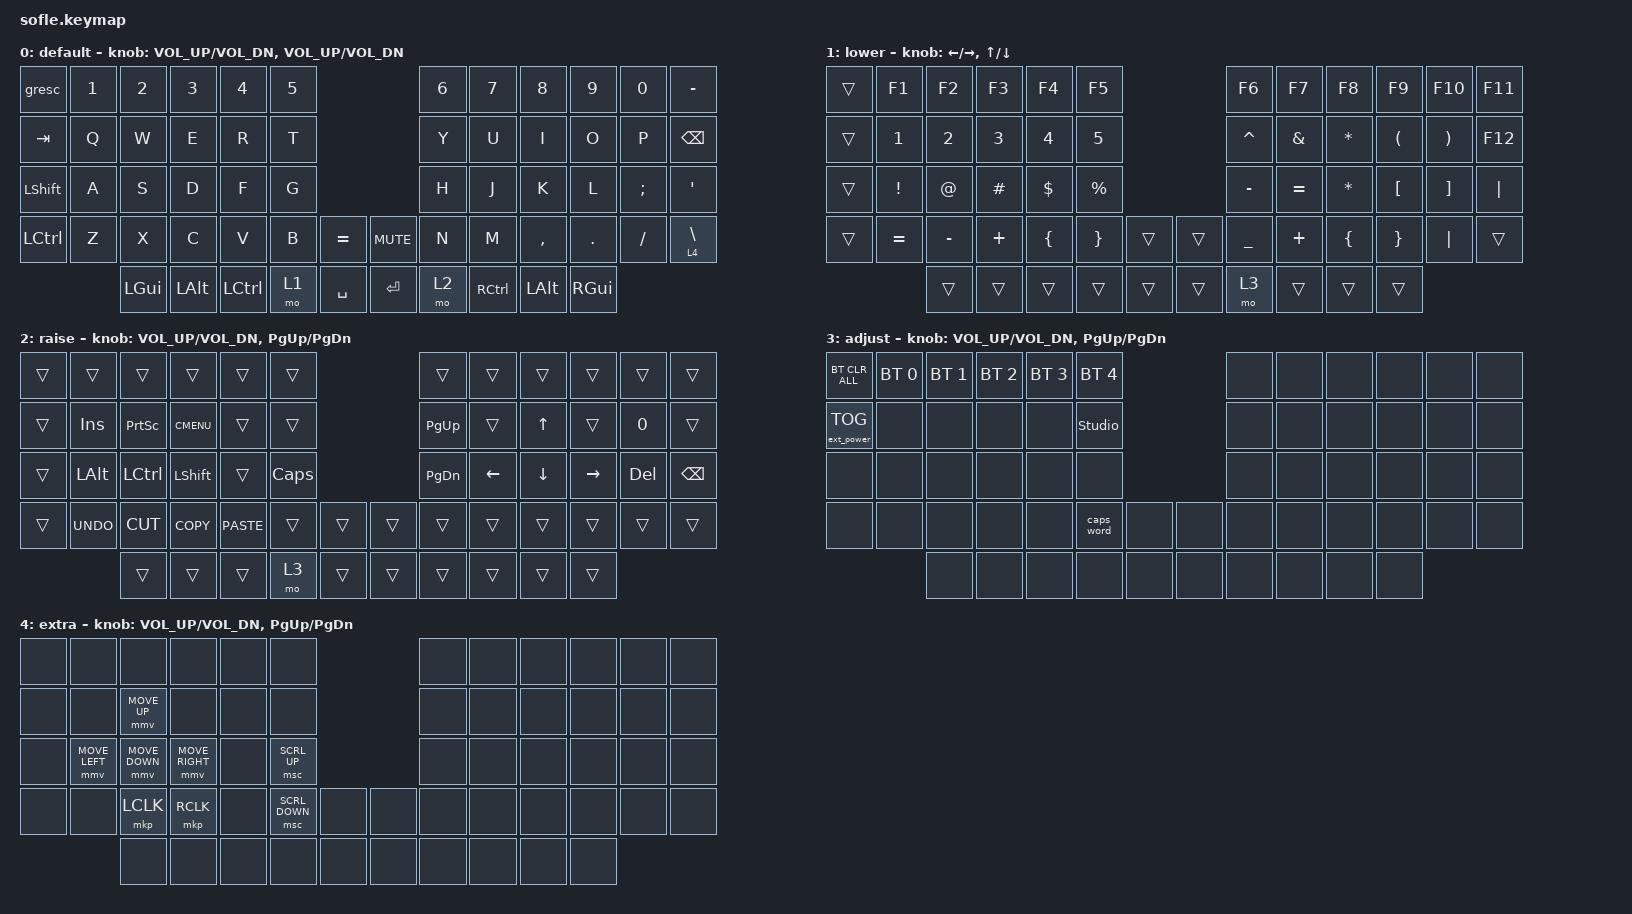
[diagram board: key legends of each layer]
/*
 * Copyright (c) 2020 The ZMK Contributors
 *
 * SPDX-License-Identifier: MIT
 */

#include <behaviors.dtsi>
#include <dt-bindings/zmk/bt.h>
#include <dt-bindings/zmk/ext_power.h>
#include <dt-bindings/zmk/keys.h>
#include <dt-bindings/zmk/pointing.h>


/*
// Encoders

&sensors { triggers-per-rotation = <30>; };

&left_encoder { steps = <60>; };

&right_encoder { steps = <60>; };
*/

#define BASE 0
#define LOWER 1
#define RAISE 2
#define ADJUST 3
#define EXTRA 4

/ {


    combos {
        compatible = "zmk,combos";

        backspace {
            bindings = <&kp BACKSPACE>;
            key-positions = <32 31>;
        };


        esc {
            bindings = <&kp ESCAPE>;
            key-positions = <25 41>;
        };
    };



    keymap {
        compatible = "zmk,keymap";

        // swap C_MUTE & EQUAL for encoder on the right

        default_layer {
            display-name = "default";

            // ------------------------------------------------------------------------------------------------------------
            // |   `   |  1  |  2  |  3   |  4   |  5   |                   |  6   |  7    |  8    |  9   |   0   |       |
            // |  ESC  |  Q  |  W  |  E   |  R   |  T   |                   |  Y   |  U    |  I    |  O   |   P   | BKSPC |
            // |  TAB  |  A  |  S  |  D   |  F   |  G   |                   |  H   |  J    |  K    |  L   |   ;   |   '   |
            // | SHIFT |  Z  |  X  |  C   |  V   |  B   |  MUTE  |  |       |  N   |  M    |  ,    |  .   |   /   | SHIFT |
            //               | GUI | ALT  | CTRL | LOWER|  ENTER |  | SPACE | RAISE| CTRL  | ALT   | GUI  |

            bindings = <
&gresc            &kp N1  &kp N2    &kp N3    &kp N4     &kp N5                              &kp N6     &kp N7     &kp N8     &kp N9    &kp N0    &kp MINUS
&kp TAB           &kp Q   &kp W     &kp E     &kp R      &kp T                               &kp Y      &kp U      &kp I      &kp O     &kp P     &kp BSPC
&kp LEFT_SHIFT    &kp A   &kp S     &kp D     &kp F      &kp G                               &kp H      &kp J      &kp K      &kp L     &kp SEMI  &kp SQT
&kp LEFT_CONTROL  &kp Z   &kp X     &kp C     &kp V      &kp B      &kp EQUAL    &kp C_MUTE  &kp N      &kp M      &kp COMMA  &kp DOT   &kp FSLH  &lt 4 BSLH
                          &kp LGUI  &kp LALT  &kp LCTRL  &mo 1  &kp SPACE     &kp ENTER  &mo 2  &kp RCTRL  &kp LALT   &kp RGUI
            >;

            sensor-bindings = <&inc_dec_kp C_VOL_UP C_VOL_DN &inc_dec_kp C_VOL_UP C_VOL_DN>;
        };

        lower_layer {
            display-name = "lower";

            // TODO: Some binds are waiting for shifted keycode support.
            // ------------------------------------------------------------------------------------------------------------
            // |       |  F1 |  F2 |  F3  |  F4  |  F5  |                   |  F6  |  F7   |  F8   |  F9  |  F10  |  F11  |
            // |   `   |  1  |  2  |  3   |  4   |  5   |                   |  6   |  7    |  8    |  9   |   0   |  F12  |
            // |       |  !  |  @  |  #   |  $   |  %   |                   |  ^   |  &    |  *    |  (   |   )   |   |   |
            // |       |  =  |  -  |  +   |  {   |  }   |        |  |       |  [   |  ]    |  ;    |  :   |   \   |       |
            //               |     |      |      |      |        |  |       |      |       |       |      |

            bindings = <
&trans  &kp F1     &kp F2     &kp F3    &kp F4    &kp F5                       &kp F6          &kp F7         &kp F8          &kp F9                &kp F10                &kp F11
&trans  &kp N1     &kp N2     &kp N3    &kp N4    &kp N5                       &kp CARET       &kp AMPERSAND  &kp ASTRK       &kp LEFT_PARENTHESIS  &kp RIGHT_PARENTHESIS  &kp F12
&trans  &kp EXCL   &kp AT     &kp HASH  &kp DLLR  &kp PRCNT                    &kp MINUS       &kp EQUAL      &kp ASTRK       &kp LEFT_BRACKET      &kp RIGHT_BRACKET      &kp PIPE
&trans  &kp EQUAL  &kp MINUS  &kp PLUS  &kp LBRC  &kp RBRC   &trans    &trans  &kp UNDERSCORE  &kp PLUS       &kp LEFT_BRACE  &kp RIGHT_BRACE       &kp PIPE               &trans
                   &trans     &trans    &trans    &trans     &trans    &trans  &mo 3          &trans         &trans          &trans
            >;

            sensor-bindings =
                <&inc_dec_kp LEFT_ARROW RIGHT_ARROW>,
                <&inc_dec_kp UP_ARROW DOWN_ARROW>;
        };

        raise_layer {
            display-name = "raise";

            // ------------------------------------------------------------------------------------------------------------
            // | BTCLR | BT1  | BT2  |  BT3  |  BT4  |  BT5 |                |      |      |       |      |       |       |
            // |       | INS  | PSCR | GUI   |       |      |                | PGUP |      |   ^   |      |       |       |
            // |       | ALT  | CTRL | SHIFT |       | CAPS |                | PGDN |   <- |   v   |  ->  |  DEL  | BKSPC |
            // |       | UNDO | CUT  | COPY  | PASTE |      |      |  |      |      |      |       |      |       |       |
            //                |      |       |       |      |      |  |      |      |      |       |      |

            bindings = <
&trans  &trans      &trans     &trans       &trans       &trans                      &trans     &trans    &trans    &trans     &trans   &trans
&trans  &kp INS     &kp PSCRN  &kp K_CMENU  &trans       &trans                      &kp PG_UP  &trans    &kp UP    &trans     &kp N0   &trans
&trans  &kp LALT    &kp LCTRL  &kp LSHFT    &trans       &kp CLCK                    &kp PG_DN  &kp LEFT  &kp DOWN  &kp RIGHT  &kp DEL  &kp BSPC
&trans  &kp K_UNDO  &kp K_CUT  &kp K_COPY   &kp K_PASTE  &trans    &trans    &trans  &trans     &trans    &trans    &trans     &trans   &trans
                    &trans     &trans       &trans       &mo 3    &trans    &trans  &trans     &trans    &trans    &trans
            >;

            sensor-bindings = <&inc_dec_kp C_VOL_UP C_VOL_DN &inc_dec_kp PG_UP PG_DN>;
        };

        adjust_layer {
            // ----------------------------------------------------------------------------------------------------------------------------
            // | BTCLR  |  BT1    |  BT2    |   BT3   |   BT4   |   BT5   |                  |      |      |       |      |       |       |
            // | EXTPWR | RGB_HUD | RGB_HUI | RGB_SAD | RGB_SAI | RGB_EFF |                  |      |      |       |      |       |       |
            // |        | RGB_BRD | RGB_BRI |         |         |         |                  |      |      |       |      |       |       |
            // |        |         |         |         |         |         | RGB_TOG | |      |      |      |       |      |       |       |
            //                    |         |         |         |         |         | |      |      |      |       |      |

            display-name = "adjust";
            bindings = <
&bt BT_CLR_ALL     &bt BT_SEL 0  &bt BT_SEL 1  &bt BT_SEL 2  &bt BT_SEL 3  &bt BT_SEL 4                    &none  &none  &none  &none  &none  &none
&ext_power EP_TOG  &none         &none         &none         &none         &studio_unlock                  &none  &none  &none  &none  &none  &none
&none              &none         &none         &none         &none         &none                           &none  &none  &none  &none  &none  &none
&none              &none         &none         &none         &none         &caps_word      &none    &none  &none  &none  &none  &none  &none  &none
                                 &none         &none         &none         &none           &none    &none  &none  &none  &none  &none
            >;

            sensor-bindings = <&inc_dec_kp C_VOL_UP C_VOL_DN &inc_dec_kp PG_UP PG_DN>;
        };
        extra_layer {


            display-name = "extra";
            bindings = <
&none     &none  &none  &none  &none  &none                    &none  &none  &none  &none  &none  &none
&none  &none         &mmv MOVE_UP         &none         &none         &none                  &none  &none  &none  &none  &none  &none
&none              &mmv MOVE_LEFT &mmv MOVE_DOWN &mmv MOVE_RIGHT         &none         &msc SCRL_UP                           &none  &none  &none  &none  &none  &none
&none              &none         &mkp LCLK         &mkp RCLK         &none         &msc SCRL_DOWN      &none    &none  &none  &none  &none  &none  &none  &none
                                 &none         &none         &none         &none           &none    &none  &none  &none  &none  &none
            >;

            sensor-bindings = <&inc_dec_kp C_VOL_UP C_VOL_DN &inc_dec_kp PG_UP PG_DN>;
        };
    };
};
